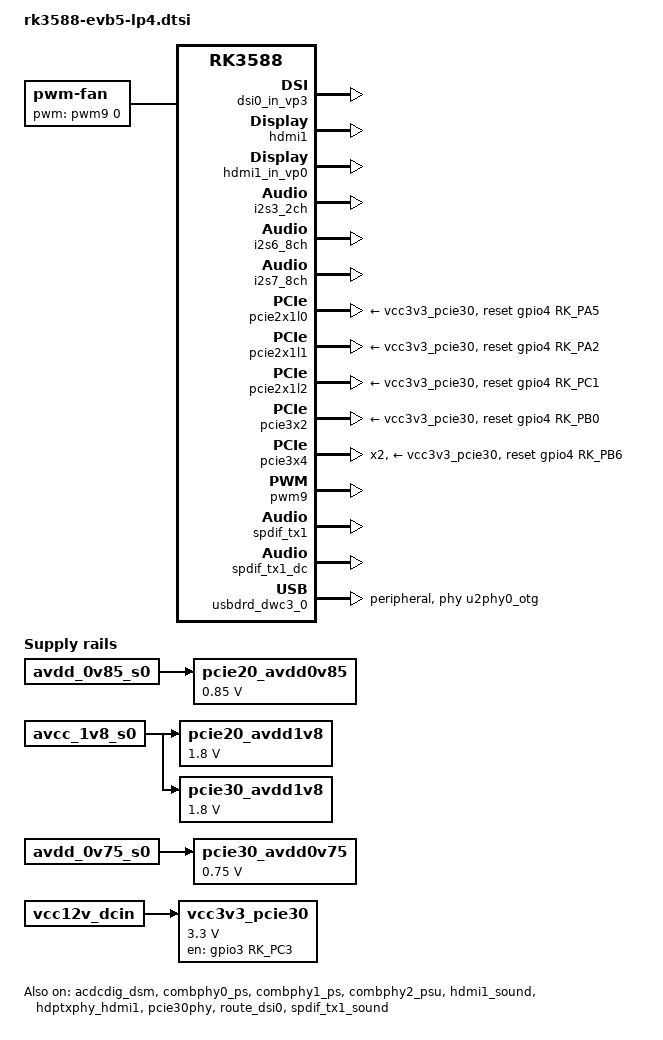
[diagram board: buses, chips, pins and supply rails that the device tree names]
// SPDX-License-Identifier: (GPL-2.0+ OR MIT)
/*
 * Copyright (c) 2021 Rockchip Electronics Co., Ltd.
 *
 */

#include "rk3588.dtsi"
#include "rk3588-evb.dtsi"
#include "rk3588-rk806-dual.dtsi"

/ {
	dsm_sound: dsm-sound {
		compatible = "simple-audio-card";
		simple-audio-card,format = "i2s";
		simple-audio-card,mclk-fs = <256>;
		simple-audio-card,name = "rockchip,dsm-sound";
		simple-audio-card,bitclock-master = <&sndcodec>;
		simple-audio-card,frame-master = <&sndcodec>;
		sndcpu: simple-audio-card,cpu {
			sound-dai = <&i2s3_2ch>;
		};
		sndcodec: simple-audio-card,codec {
			sound-dai = <&acdcdig_dsm>;
		};
	};

	fan: pwm-fan {
		compatible = "pwm-fan";
		#cooling-cells = <2>;
		pwms = <&pwm9 0 50000 0>;
	};

	hdmiin_dc: hdmiin-dc {
		compatible = "rockchip,dummy-codec";
		#sound-dai-cells = <0>;
	};

	hdmiin-sound {
		compatible = "simple-audio-card";
		simple-audio-card,format = "i2s";
		simple-audio-card,name = "rockchip,hdmiin";
		simple-audio-card,bitclock-master = <&dailink0_master>;
		simple-audio-card,frame-master = <&dailink0_master>;
		status = "okay";
		simple-audio-card,cpu {
			sound-dai = <&i2s7_8ch>;
		};
		dailink0_master: simple-audio-card,codec {
			sound-dai = <&hdmiin_dc>;
		};
	};

	pcie20_avdd0v85: pcie20-avdd0v85 {
		compatible = "regulator-fixed";
		regulator-name = "pcie20_avdd0v85";
		regulator-boot-on;
		regulator-always-on;
		regulator-min-microvolt = <850000>;
		regulator-max-microvolt = <850000>;
		vin-supply = <&avdd_0v85_s0>;
	};

	pcie20_avdd1v8: pcie20-avdd1v8 {
		compatible = "regulator-fixed";
		regulator-name = "pcie20_avdd1v8";
		regulator-boot-on;
		regulator-always-on;
		regulator-min-microvolt = <1800000>;
		regulator-max-microvolt = <1800000>;
		vin-supply = <&avcc_1v8_s0>;
	};

	pcie30_avdd0v75: pcie30-avdd0v75 {
		compatible = "regulator-fixed";
		regulator-name = "pcie30_avdd0v75";
		regulator-boot-on;
		regulator-always-on;
		regulator-min-microvolt = <750000>;
		regulator-max-microvolt = <750000>;
		vin-supply = <&avdd_0v75_s0>;
	};

	pcie30_avdd1v8: pcie30-avdd1v8 {
		compatible = "regulator-fixed";
		regulator-name = "pcie30_avdd1v8";
		regulator-boot-on;
		regulator-always-on;
		regulator-min-microvolt = <1800000>;
		regulator-max-microvolt = <1800000>;
		vin-supply = <&avcc_1v8_s0>;
	};

	vcc3v3_pcie30: vcc3v3-pcie30 {
		compatible = "regulator-fixed";
		regulator-name = "vcc3v3_pcie30";
		regulator-min-microvolt = <3300000>;
		regulator-max-microvolt = <3300000>;
		enable-active-high;
		gpios = <&gpio3 RK_PC3 GPIO_ACTIVE_HIGH>;
		startup-delay-us = <5000>;
		vin-supply = <&vcc12v_dcin>;
	};
};

&acdcdig_dsm {
	status = "okay";
};

&combphy0_ps {
	status = "okay";
};

&combphy1_ps {
	status = "okay";
};

&combphy2_psu {
	status = "okay";
};

/*
 * mipi_dcphy0 needs to be enabled
 * when dsi0 is enabled
 */
&dsi0 {
	status = "disabled";
};

&dsi0_in_vp2 {
	status = "disabled";
};

&dsi0_in_vp3 {
	status = "okay";
};

/*
 * mipi_dcphy1 needs to be enabled
 * when dsi1 is enabled
 */
&dsi1 {
	status = "disabled";
};

&dsi1_in_vp2 {
	status = "disabled";
};

&dsi1_in_vp3 {
	status = "disabled";
};

&hdmi1 {
	enable-gpios = <&gpio4 RK_PB2 GPIO_ACTIVE_HIGH>;
	status = "okay";
};

&hdmi1_in_vp0 {
	status = "okay";
};

&hdmi1_sound {
	status = "okay";
};

&hdptxphy_hdmi1 {
	status = "okay";
};

&i2s3_2ch {
	status = "okay";
	/delete-property/ pinctrl-names;
	/delete-property/ pinctrl-0;
};

&i2s6_8ch {
	status = "okay";
};

&i2s7_8ch {
	status = "okay";
};

&mipi_dcphy0 {
	status = "disabled";
};

&mipi_dcphy1 {
	status = "disabled";
};

&pcie2x1l0 {
	reset-gpios = <&gpio4 RK_PA5 GPIO_ACTIVE_HIGH>;
	vpcie3v3-supply = <&vcc3v3_pcie30>;
	status = "okay";
};

&pcie2x1l1 {
	reset-gpios = <&gpio4 RK_PA2 GPIO_ACTIVE_HIGH>;
	vpcie3v3-supply = <&vcc3v3_pcie30>;
	status = "okay";
};

&pcie2x1l2 {
	reset-gpios = <&gpio4 RK_PC1 GPIO_ACTIVE_HIGH>;
	vpcie3v3-supply = <&vcc3v3_pcie30>;
	status = "okay";
};

&pcie30phy {
	rockchip,pcie30-phymode = <PHY_MODE_PCIE_NANBNB>;
	status = "okay";
};

&pcie3x2 {
	reset-gpios = <&gpio4 RK_PB0 GPIO_ACTIVE_HIGH>;
	vpcie3v3-supply = <&vcc3v3_pcie30>;
	status = "okay";
};

&pcie3x4 {
	num-lanes = <2>;
	reset-gpios = <&gpio4 RK_PB6 GPIO_ACTIVE_HIGH>;
	vpcie3v3-supply = <&vcc3v3_pcie30>;
	status = "okay";
};

&pwm9 {
	pinctrl-0 = <&pwm9m2_pins>;
	status = "okay";
};

&route_dsi0 {
	status = "okay";
	connect = <&vp3_out_dsi0>;
};

&route_dsi1 {
	status = "disabled";
	connect = <&vp3_out_dsi1>;
};

&spdif_tx1 {
	status = "okay";
	pinctrl-names = "default";
	pinctrl-0 = <&spdif1m0_tx>;
};

&spdif_tx1_dc {
	status = "okay";
};

&spdif_tx1_sound {
	status = "okay";
};

&usbdp_phy0 {
	status = "disabled";
};

&usbdp_phy0_dp {
	status = "disabled";
};

&usbdp_phy0_u3 {
	status = "disabled";
};

&usbdrd_dwc3_0 {
	dr_mode = "peripheral";
	phys = <&u2phy0_otg>;
	phy-names = "usb2-phy";
	maximum-speed = "high-speed";
};

&usbhost3_0 {
	status = "disabled";
};

&usbhost_dwc3_0 {
	status = "disabled";
};
